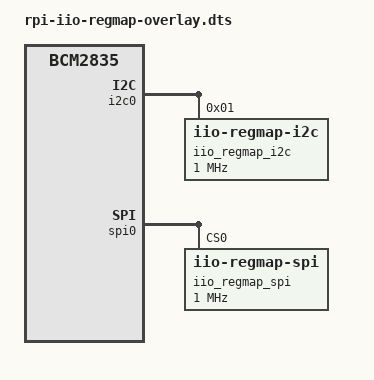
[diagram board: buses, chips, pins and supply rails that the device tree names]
// SPDX-License-Identifier: GPL-2.0+
// Copyright 2019 Analog Devices Inc.

/dts-v1/;
/plugin/;

/ {
	compatible = "brcm,bcm2835";

	fragment@0 {
		target = <&i2c0>;

		frag0: __overlay__ {
			#address-cells = <1>;
			#size-cells = <0>;
			status = "okay";

			iio_regmap_i2c@1 {
				reg = <1>;
				spi-max-frequency = <1000000>;
				compatible = "iio-regmap-i2c";
				status = "okay";
			};
		};
	};

	fragment@1 {
		target = <&spi0>;

		frag1: __overlay__ {
			#address-cells = <1>;
			#size-cells = <0>;
			status = "okay";

			iio_regmap_spi@0 {
				reg = <0>;
				spi-max-frequency = <1000000>;
				compatible = "iio-regmap-spi";
				status = "okay";
			};
		};
	};

};
